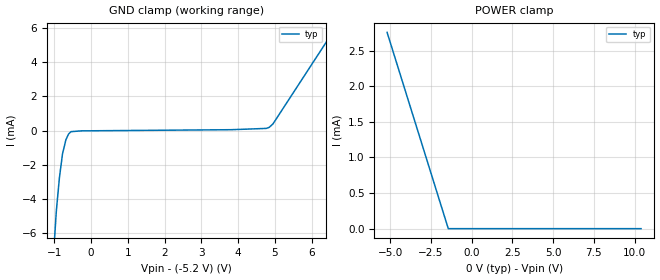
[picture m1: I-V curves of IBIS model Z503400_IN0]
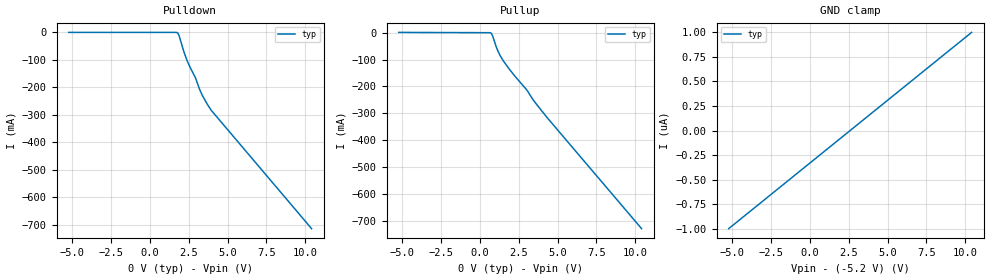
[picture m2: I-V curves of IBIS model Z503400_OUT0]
| YOU ARE ONLY AUTHORIZED TO USE THIS SOFTWARE
| ACCORDING TO LICENSOR'S LICENSE RESTRICTIONS.
[IBIS Ver] 3.1
[File Name] mc10e122fn.ibs
[File Rev] 2.0
[Source] Measured and created by ICX Technology
[Date] Friday 7/14/00 9:07:48 AM
[Copyright]
| (C) COPYRIGHT 1993-2000
| MENTOR GRAPHICS CORPORATION
| ICX STANDARD LIBRARY, ICX PROJECT MODELING,
| ICX CUSTOM MODELING, ICX VENDOR MODEL
| ALL RIGHTS RESERVED.
| THE FOLLOWING ARE TRADEMARKS OR SERVICE MARKS OF
| MENTOR GRAPHICS CORPORATION:ICX (R), ICX STANDARD
| LIBRARY(R), ICX PROJECT MODELING(R), ICX CUSTOM
| MODELING(R), qualityIBIS(TM), MODELVIEWER(TM),
| AND MODELEDITOR(TM)
| ALL COPIES OF SOFTWARE, INCLUDING BUT NOT LIMITED TO
| ANY MODIFICATIONS, ENHANCEMENTS OR DERIVATIVE WORKS,
| MUST CONTAIN ALL MENTOR GRAPHICS CORPORATION'S
| NOTICES AND LEGENDS, INCLUDING THOSE EMBEDDED IN
| SOFTWARE AND THOSE AFFIXED TO SOFTWARE MEDIUM
| AND CONTAINER, AS RECEIVED FROM MENTOR GRAPHICS
| CORPORATION.
|  ZAP Model Builder 2.7
[Component] MC10E122FN
[Manufacturer] OnSemiconductor
[Package]
| variable   typ   min   max
R_pkg  .083ohms NA NA
L_pkg  4.299nH NA NA
C_pkg  1.045pF NA NA
[Pin] signal_name  model_name  R_pin  L_pin C_pin
1 VEE POWER .08 3.94n .925p
2 D4 Z503400_IN0 .082 4.14n .995p
3 D3 Z503400_IN0 .084 4.354n 1.065p
4 D2 Z503400_IN0 .086 4.583n 1.135p
5 D1 Z503400_IN0 .086 4.583n 1.135p
6 D0 Z503400_IN0 .084 4.354n 1.065p
7 NC NC .082 4.14n .995p
8 Q0 Z503400_OUT0 .08 3.94n .925p
9 Q1 Z503400_OUT0 .082 4.14n .995p
10 VCCO POWER .084 4.354n 1.065p
11 Q2 Z503400_OUT0 .086 4.583n 1.135p
12 Q3 Z503400_OUT0 .086 4.583n 1.135p
13 VCCO POWER .084 4.354n 1.065p
14 Q4 Z503400_OUT0 .082 4.14n .995p
15 Q5 Z503400_IN0 .08 3.94n .925p
16 VCC POWER .082 4.14n .995p
17 Q6 Z503400_OUT0 .084 4.354n 1.065p
18 Q7 Z503400_OUT0 .086 4.583n 1.135p
19 VCCO POWER .086 4.583n 1.135p
20 Q8 Z503400_OUT0 .084 4.354n 1.065p
21 NC NC .082 4.14n .995p
22 NC NC .08 3.94n .925p
23 NC NC .082 4.14n .995p
24 NC NC .084 4.354n 1.065p
25 D8 Z503400_IN0 .086 4.583n 1.135p
26 D7 Z503400_IN0 .086 4.583n 1.135p
27 D6 Z503400_IN0 .084 4.354n 1.065p
28 D5 Z503400_IN0 .082 4.14n .995p
| Models and submodels in the file (2): Z503400_IN0 (Input_ECL), Z503400_OUT0 (Output_ECL)
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| (C) COPYRIGHT 1993-2000
| MENTOR GRAPHICS CORPORATION
| ICX STANDARD LIBRARY, ICX PROJECT MODELING,
| ICX CUSTOM MODELING, ICX VENDOR MODEL
| ALL RIGHTS RESERVED.
| THE FOLLOWING ARE TRADEMARKS OR SERVICE MARKS OF
| MENTOR GRAPHICS CORPORATION:ICX (R), ICX STANDARD
| LIBRARY(R), ICX PROJECT MODELING(R), ICX CUSTOM
| MODELING(R), qualityIBIS(TM), MODELVIEWER(TM),
| AND MODELEDITOR(TM)
| ALL COPIES OF SOFTWARE, INCLUDING BUT NOT LIMITED TO
| ANY MODIFICATIONS, ENHANCEMENTS OR DERIVATIVE WORKS,
| MUST CONTAIN ALL MENTOR GRAPHICS CORPORATION'S
| NOTICES AND LEGENDS, INCLUDING THOSE EMBEDDED IN
| SOFTWARE AND THOSE AFFIXED TO SOFTWARE MEDIUM
| AND CONTAINER, AS RECEIVED FROM MENTOR GRAPHICS
| CORPORATION.
| Model Application Version 1.89 2/18/99.
[Model] Z503400_IN0
Model_type Input_ECL
Vinl = -1.480V
Vinh = -1.130V
C_comp 4.000pF NA NA
| variable typ   min   max
[Voltage Range] -5.200V NA NA
[GND Clamp Reference] -5.200V NA NA
[POWER Clamp Reference] 0.000V NA NA
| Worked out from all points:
|   GND clamp passes 1 mA (typ) near -0.73 V on its own axis
[GND Clamp]
-5.2V     -204.3mA   NA         NA
-1.105V   -10.04mA   NA         NA
-942mV    -4.66mA    NA         NA
-859mV    -2.75mA    NA         NA
-776mV    -1.368mA   NA         NA
-682mV    -529.1uA   NA         NA
-607mV    -194.4uA   NA         NA
-545mV    -66.38uA   NA         NA
4.771V    123.8uA    NA         NA
4.849V    187.3uA    NA         NA
4.951V    387.3uA    NA         NA
10.4V     18.33mA    NA         NA
[POWER Clamp]
-5.2V     2.757mA    NA         NA
-1.441V   0A         NA         NA
10.4V     0A         NA         NA
| (C) COPYRIGHT 1993-2000
| MENTOR GRAPHICS CORPORATION
| ICX STANDARD LIBRARY, ICX PROJECT MODELING,
| ICX CUSTOM MODELING, ICX VENDOR MODEL
| ALL RIGHTS RESERVED.
| THE FOLLOWING ARE TRADEMARKS OR SERVICE MARKS OF
| MENTOR GRAPHICS CORPORATION:ICX (R), ICX STANDARD
| LIBRARY(R), ICX PROJECT MODELING(R), ICX CUSTOM
| MODELING(R), qualityIBIS(TM), MODELVIEWER(TM),
| AND MODELEDITOR(TM)
| ALL COPIES OF SOFTWARE, INCLUDING BUT NOT LIMITED TO
| ANY MODIFICATIONS, ENHANCEMENTS OR DERIVATIVE WORKS,
| MUST CONTAIN ALL MENTOR GRAPHICS CORPORATION'S
| NOTICES AND LEGENDS, INCLUDING THOSE EMBEDDED IN
| SOFTWARE AND THOSE AFFIXED TO SOFTWARE MEDIUM
| AND CONTAINER, AS RECEIVED FROM MENTOR GRAPHICS
| CORPORATION.
| Model Application Version 1.89 2/18/99.
[Model] Z503400_OUT0
Model_type Output_ECL
Vref=-2.000V
Rref=50.00ohms
Cref=0.000F
Vmeas=-1.305V
C_comp 8.000pF NA NA
| variable typ   min   max
[Voltage Range] -5.200V NA NA
[POWER Clamp Reference] 0.000V NA NA
[Pullup Reference] 0.000V NA NA
[Pulldown Reference] 0.000V NA NA
[GND Clamp Reference] -5.200V NA NA
[GND Clamp]
-5.2V     -1uA       NA         NA
10.4V     1uA        NA         NA
[Pulldown]
-5.2V     91.72uA    NA         NA
1.802V    -2.02mA    NA         NA
1.889V    -11.4mA    NA         NA
2.203V    -71.39mA   NA         NA
2.407V    -103.2mA   NA         NA
2.617V    -129.7mA   NA         NA
2.925V    -163.1mA   NA         NA
3.211V    -208mA     NA         NA
3.404V    -231.9mA   NA         NA
3.966V    -284.6mA   NA         NA
10.4V     -715.1mA   NA         NA
[Pullup]
-5.2V     985.6uA    NA         NA
727.5mV   -1.543mA   NA         NA
832.7mV   -12.09mA   NA         NA
1.065V    -52.78mA   NA         NA
1.329V    -86.84mA   NA         NA
1.821V    -129.2mA   NA         NA
3.032V    -213.2mA   NA         NA
3.574V    -260.5mA   NA         NA
4.35V     -316.9mA   NA         NA
10.4V     -728.5mA   NA         NA
[POWER Clamp]
-5.2V     0A         NA         NA
10.4V     0A         NA         NA
[Ramp]
| variable typ min max
dV/dt_r 601.3m/212.5p NA NA
dV/dt_f 601.3m/237.8p NA NA
R_load = 500.0Ohms
